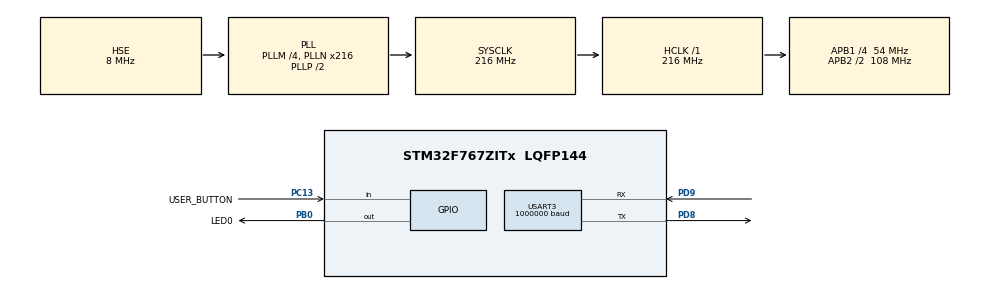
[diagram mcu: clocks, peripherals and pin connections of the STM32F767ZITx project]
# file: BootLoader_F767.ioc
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Mcu.Family=STM32F7
Mcu.Name=STM32F767ZITx
Mcu.Package=LQFP144
NVIC.PriorityGroup=NVIC_PRIORITYGROUP_4
NVIC.USART3_IRQn=true\:0\:0\:false\:false\:true\:true\:true
PA13.Mode=Serial_Wire
PA13.Signal=SYS_JTMS-SWDIO
PA14.Mode=Serial_Wire
PA14.Signal=SYS_JTCK-SWCLK
PB0.GPIO_Label=LED0
PB0.Signal=GPIO_Output
PC13.GPIO_Label=USER_BUTTON
PC13.Signal=GPIO_Input
PC14/OSC32_IN.Mode=LSE-External-Oscillator
PC14/OSC32_IN.Signal=RCC_OSC32_IN
PC15/OSC32_OUT.Mode=LSE-External-Oscillator
PC15/OSC32_OUT.Signal=RCC_OSC32_OUT
PD8.Mode=Asynchronous
PD8.Signal=USART3_TX
PD9.Mode=Asynchronous
PD9.Signal=USART3_RX
PH0/OSC_IN.Mode=HSE-External-Clock-Source
PH0/OSC_IN.Signal=RCC_OSC_IN
PH1/OSC_OUT.Mode=HSE-External-Clock-Source
PH1/OSC_OUT.Signal=RCC_OSC_OUT
ProjectManager.HeapSize=0x1000
ProjectManager.StackSize=0x1000
ProjectManager.TargetToolchain=MDK-ARM V5.27
RCC.AHBFreq_Value=216000000
RCC.APB1CLKDivider=RCC_HCLK_DIV4
RCC.APB1Freq_Value=54000000
RCC.APB1TimFreq_Value=108000000
RCC.APB2CLKDivider=RCC_HCLK_DIV2
RCC.APB2Freq_Value=108000000
RCC.APB2TimFreq_Value=216000000
RCC.CortexFreq_Value=216000000
RCC.HCLKFreq_Value=216000000
RCC.HSE_VALUE=8000000
RCC.HSI_VALUE=16000000
RCC.PLLM=4
RCC.PLLN=216
RCC.PLLSourceVirtual=RCC_PLLSOURCE_HSE
RCC.SYSCLKFreq_VALUE=216000000
RCC.SYSCLKSource=RCC_SYSCLKSOURCE_PLLCLK
RCC.USBFreq_Value=216000000
RCC.VCOOutputFreq_Value=432000000
USART3.BaudRate=1000000
USART3.VirtualMode-Asynchronous=VM_ASYNC
board=custom

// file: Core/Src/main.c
/* USER CODE BEGIN Header */
/**
  ******************************************************************************
  * @file           : main.c
  * @brief          : Main program body
  ******************************************************************************
  * @attention
  *
  * <h2><center>&copy; Copyright (c) 2020 STMicroelectronics.
  * All rights reserved.</center></h2>
  *
  * This software component is licensed by ST under BSD 3-Clause license,
  * the "License"; You may not use this file except in compliance with the
  * License. You may obtain a copy of the License at:
  *                        opensource.org/licenses/BSD-3-Clause
  *
  ******************************************************************************
  */
/* USER CODE END Header */
#include "main.h"
#include "usart.h"
#include "gpio.h"

/* USER CODE BEGIN PV */
#include "nboot.h"
#include "flash.h"
#include "app_iap.h"
#include "uart_parse.h"

Flash_Backend_Type flash_backend =
{
    .read = flash_read,
    .write = flash_write,
    .erase = flash_erase
};

const Temp_Flash_Context flash_ctx =
{
    .flash_start_addr = IMAGE_SLOT_B_START,
    .backend = &flash_backend
};
/* USER CODE END PV */

void SystemClock_Config(void);

int main(void)
{

  /* MCU Configuration--------------------------------------------------------*/

  /* Reset of all peripherals, Initializes the Flash interface and the Systick. */
  HAL_Init();

  /* Configure the system clock */
  SystemClock_Config();

  /* Initialize all configured peripherals */
  MX_GPIO_Init();
  MX_USART3_UART_Init();
  /* USER CODE BEGIN 2 */

    uart_receive_struct_init();
    check_iap();
    boot_app(&flash_ctx);
  /* USER CODE END 2 */

  /* Infinite loop */
  while (1)
  {

  }
}

void SystemClock_Config(void)
{
  RCC_OscInitTypeDef RCC_OscInitStruct = {0};
  RCC_ClkInitTypeDef RCC_ClkInitStruct = {0};
  RCC_PeriphCLKInitTypeDef PeriphClkInitStruct = {0};

  /** Configure LSE Drive Capability
  */
  HAL_PWR_EnableBkUpAccess();
  /** Configure the main internal regulator output voltage
  */
  __HAL_RCC_PWR_CLK_ENABLE();
  __HAL_PWR_VOLTAGESCALING_CONFIG(PWR_REGULATOR_VOLTAGE_SCALE1);
  /** Initializes the RCC Oscillators according to the specified parameters
  * in the RCC_OscInitTypeDef structure.
  */
  RCC_OscInitStruct.OscillatorType = RCC_OSCILLATORTYPE_HSE;
  RCC_OscInitStruct.HSEState = RCC_HSE_BYPASS;
  RCC_OscInitStruct.PLL.PLLState = RCC_PLL_ON;
  RCC_OscInitStruct.PLL.PLLSource = RCC_PLLSOURCE_HSE;
  RCC_OscInitStruct.PLL.PLLM = 4;
  RCC_OscInitStruct.PLL.PLLN = 216;
  RCC_OscInitStruct.PLL.PLLP = RCC_PLLP_DIV2;
  RCC_OscInitStruct.PLL.PLLQ = 2;
  if (HAL_RCC_OscConfig(&RCC_OscInitStruct) != HAL_OK)
  {
    Error_Handler();
  }
  /** Activate the Over-Drive mode
  */
  if (HAL_PWREx_EnableOverDrive() != HAL_OK)
  {
    Error_Handler();
  }
  /** Initializes the CPU, AHB and APB buses clocks
  */
  RCC_ClkInitStruct.ClockType = RCC_CLOCKTYPE_HCLK|RCC_CLOCKTYPE_SYSCLK
                              |RCC_CLOCKTYPE_PCLK1|RCC_CLOCKTYPE_PCLK2;
  RCC_ClkInitStruct.SYSCLKSource = RCC_SYSCLKSOURCE_PLLCLK;
  RCC_ClkInitStruct.AHBCLKDivider = RCC_SYSCLK_DIV1;
  RCC_ClkInitStruct.APB1CLKDivider = RCC_HCLK_DIV4;
  RCC_ClkInitStruct.APB2CLKDivider = RCC_HCLK_DIV2;

  if (HAL_RCC_ClockConfig(&RCC_ClkInitStruct, FLASH_LATENCY_7) != HAL_OK)
  {
    Error_Handler();
  }
  PeriphClkInitStruct.PeriphClockSelection = RCC_PERIPHCLK_USART3;
  PeriphClkInitStruct.Usart3ClockSelection = RCC_USART3CLKSOURCE_PCLK1;
  if (HAL_RCCEx_PeriphCLKConfig(&PeriphClkInitStruct) != HAL_OK)
  {
    Error_Handler();
  }
}

void Error_Handler(void)
{
}

/************************ (C) COPYRIGHT STMicroelectronics *****END OF FILE****/
